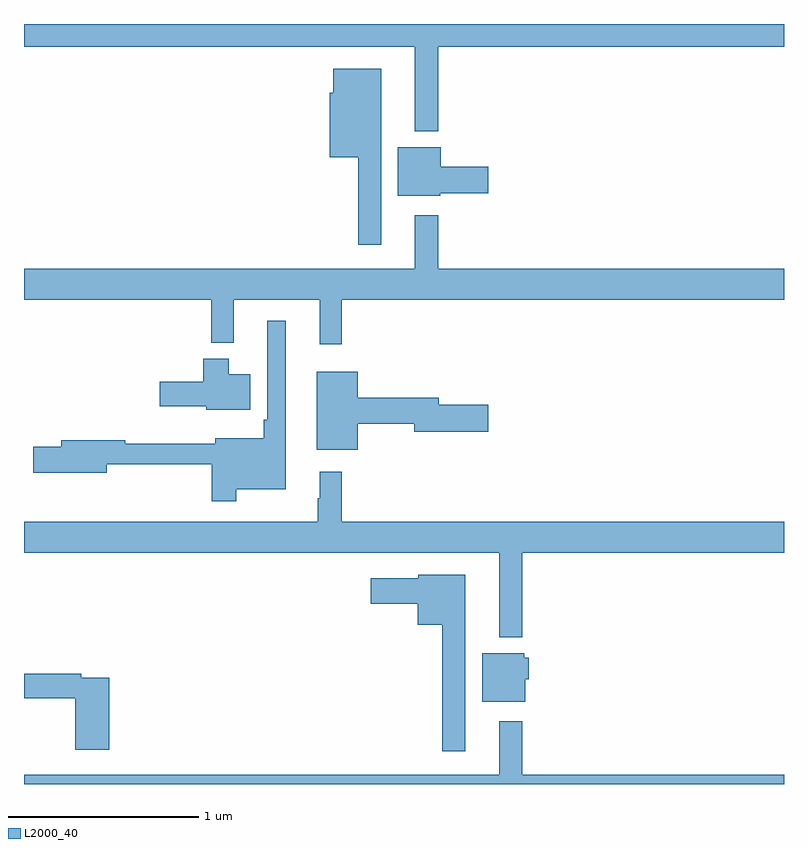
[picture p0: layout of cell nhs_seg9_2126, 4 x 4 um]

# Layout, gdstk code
import gdstk
lib = gdstk.Library(unit=1e-6, precision=1e-09)
def P(c, l, *ps):  # polygons
    for p in ps: c.add(gdstk.Polygon(p, *l))
L2000_40 = (2000, 40)

nhs_seg9_2126 = lib.new_cell('nhs_seg9_2126')
P(nhs_seg9_2126, L2000_40, [(233.179,1236.38),(235,1236.38),(235,1236.5),(231,1236.5),(231,1236.38),(233.057,1236.38),(233.057,1235.936),(233.179,1235.936)],
  [(232.879,1236.265),(232.628,1236.265),(232.628,1236.138),(232.61,1236.138),(232.61,1235.798),(232.758,1235.798),(232.758,1235.337),(232.879,1235.337)],
  [(233.19,1235.608),(233.443,1235.608),(233.443,1235.75),(233.194,1235.75),(233.194,1235.851),(232.967,1235.851),(232.967,1235.597),(233.19,1235.597)],
  [(232.673,1235.048),(235,1235.048),(235,1235.212),(233.179,1235.212),(233.179,1235.494),(233.057,1235.494),(233.057,1235.212),(231,1235.212),(231,1235.048),(231.985,1235.048),(231.985,1234.823),(232.103,1234.823),(232.103,1235.048),(232.556,1235.048),(232.556,1234.815),(232.673,1234.815)],
  [(232.117,1234.052),(232.378,1234.052),(232.378,1234.939),(232.281,1234.939),(232.281,1234.417),(232.261,1234.417),(232.261,1234.321),(232.007,1234.321),(232.007,1234.292),(231.532,1234.292),(231.532,1234.31),(231.197,1234.31),(231.197,1234.274),(231.048,1234.274),(231.048,1234.139),(231.436,1234.139),(231.436,1234.182),(231.988,1234.182),(231.988,1233.987),(232.117,1233.987)],
  [(232.192,1234.657),(232.078,1234.657),(232.078,1234.738),(231.944,1234.738),(231.944,1234.617),(231.714,1234.617),(231.714,1234.487),(231.96,1234.487),(231.96,1234.469),(232.192,1234.469)],
  [(232.756,1234.396),(233.054,1234.396),(233.054,1234.354),(233.443,1234.354),(233.443,1234.496),(233.182,1234.496),(233.182,1234.532),(232.756,1234.532),(232.756,1234.669),(232.541,1234.669),(232.541,1234.259),(232.756,1234.259)],
  [(233.623,1233.716),(235,1233.716),(235,1233.88),(232.673,1233.88),(232.673,1234.144),(232.556,1234.144),(232.556,1234.004),(232.545,1234.004),(232.545,1233.88),(231,1233.88),(231,1233.716),(233.501,1233.716),(233.501,1233.272),(233.623,1233.272)],
  [(233.323,1233.601),(233.076,1233.601),(233.076,1233.583),(232.824,1233.583),(232.824,1233.449),(233.072,1233.449),(233.072,1233.338),(233.202,1233.338),(233.202,1232.673),(233.323,1232.673)],
  [(233.638,1233.051),(233.656,1233.051),(233.656,1233.165),(233.634,1233.165),(233.634,1233.187),(233.411,1233.187),(233.411,1232.933),(233.638,1232.933)],
  [(231.449,1233.06),(231.302,1233.06),(231.302,1233.08),(231,1233.08),(231,1232.952),(231.271,1232.952),(231.271,1232.679),(231.449,1232.679)],
  [(235,1232.548),(233.623,1232.548),(233.623,1232.83),(233.501,1232.83),(233.501,1232.548),(231,1232.548),(231,1232.5),(235,1232.5)])

lib.write_gds('nhs_seg9_2126.gds')
